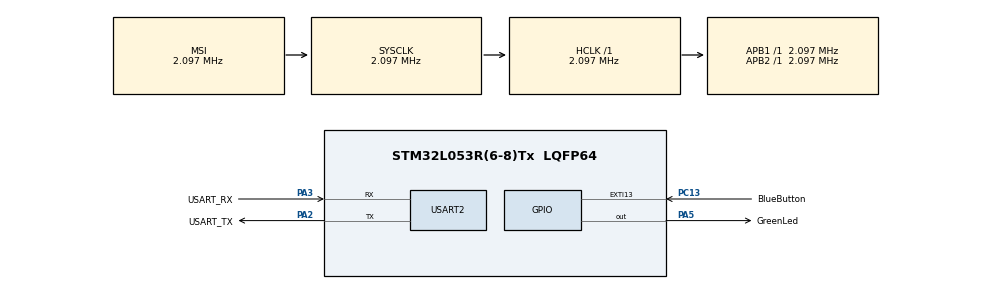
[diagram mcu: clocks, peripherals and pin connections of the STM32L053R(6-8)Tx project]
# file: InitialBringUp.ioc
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Mcu.Family=STM32L0
Mcu.Name=STM32L053R(6-8)Tx
Mcu.Package=LQFP64
NVIC.EXTI4_15_IRQn=true\:0\:0\:false\:false\:true\:true\:true
PA13.GPIO_Label=TMS
PA13.Mode=Serial_Wire
PA13.Signal=SYS_SWDIO
PA14.GPIO_Label=TCK
PA14.Mode=Serial_Wire
PA14.Signal=SYS_SWCLK
PA2.GPIO_Label=USART_TX
PA2.Mode=Asynchronous
PA2.Signal=USART2_TX
PA3.GPIO_Label=USART_RX
PA3.Mode=Asynchronous
PA3.Signal=USART2_RX
PA5.GPIO_Label=GreenLed
PA5.Signal=GPIO_Output
PC13.GPIO_Label=BlueButton
PC13.GPIO_ModeDefaultEXTI=GPIO_MODE_IT_RISING_FALLING
PC13.Signal=GPXTI13
PC14-OSC32_IN.Mode=LSE-External-Oscillator
PC14-OSC32_IN.Signal=RCC_OSC32_IN
PC15-OSC32_OUT.Mode=LSE-External-Oscillator
PC15-OSC32_OUT.Signal=RCC_OSC32_OUT
PH0-OSC_IN.Mode=HSE-External-Clock-Source
PH0-OSC_IN.Signal=RCC_OSC_IN
PH1-OSC_OUT.Signal=RCC_OSC_OUT
ProjectManager.HeapSize=0x200
ProjectManager.StackSize=0x400
ProjectManager.TargetToolchain=STM32CubeIDE
RCC.AHBFreq_Value=2097000
RCC.APB1Freq_Value=2097000
RCC.APB1TimFreq_Value=2097000
RCC.APB2Freq_Value=2097000
RCC.APB2TimFreq_Value=2097000
RCC.HSE_VALUE=8000000
RCC.HSI16_VALUE=16000000
RCC.HSI48_VALUE=48000000
RCC.HSI_VALUE=16000000
RCC.MSI_VALUE=2097000
RCC.SYSCLKFreq_VALUE=2097000
RCC.VCOOutputFreq_Value=48000000
USART2.VirtualMode-Asynchronous=VM_ASYNC
board=NUCLEO-L053R8

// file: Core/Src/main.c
/* USER CODE BEGIN Header */
/**
  ******************************************************************************
  * @file           : main.c
  * @brief          : Main program body
  ******************************************************************************
  * @attention
  *
  * <h2><center>&copy; Copyright (c) 2020 STMicroelectronics.
  * All rights reserved.</center></h2>
  *
  * This software component is licensed by ST under BSD 3-Clause license,
  * the "License"; You may not use this file except in compliance with the
  * License. You may obtain a copy of the License at:
  *                        opensource.org/licenses/BSD-3-Clause
  *
  ******************************************************************************
  */
/* USER CODE END Header */

#include "main.h"

/* USER CODE BEGIN Includes */
#include <stdio.h>
/* USER CODE END Includes */

UART_HandleTypeDef huart2;

void SystemClock_Config(void);
static void MX_GPIO_Init(void);
static void MX_USART2_UART_Init(void);

int main(void)
{

  /* MCU Configuration--------------------------------------------------------*/

  /* Reset of all peripherals, Initializes the Flash interface and the Systick. */
  HAL_Init();

  /* Configure the system clock */
  SystemClock_Config();

  /* Initialize all configured peripherals */
  MX_GPIO_Init();
  MX_USART2_UART_Init();

  /* Infinite loop */
  while (1)
  {

    /* USER CODE BEGIN 3 */
	printf("Hello World\r\n");
	HAL_GPIO_WritePin(GreenLed_GPIO_Port, GreenLed_Pin, GPIO_PIN_SET);
	HAL_Delay(500);
	HAL_GPIO_WritePin(GreenLed_GPIO_Port, GreenLed_Pin, GPIO_PIN_RESET);
	HAL_Delay(500);
  }
  /* USER CODE END 3 */
}

void SystemClock_Config(void)
{
  RCC_OscInitTypeDef RCC_OscInitStruct = {0};
  RCC_ClkInitTypeDef RCC_ClkInitStruct = {0};
  RCC_PeriphCLKInitTypeDef PeriphClkInit = {0};

  /** Configure the main internal regulator output voltage
  */
  __HAL_PWR_VOLTAGESCALING_CONFIG(PWR_REGULATOR_VOLTAGE_SCALE1);
  /** Initializes the CPU, AHB and APB busses clocks
  */
  RCC_OscInitStruct.OscillatorType = RCC_OSCILLATORTYPE_MSI;
  RCC_OscInitStruct.MSIState = RCC_MSI_ON;
  RCC_OscInitStruct.MSICalibrationValue = 0;
  RCC_OscInitStruct.MSIClockRange = RCC_MSIRANGE_5;
  RCC_OscInitStruct.PLL.PLLState = RCC_PLL_NONE;
  if (HAL_RCC_OscConfig(&RCC_OscInitStruct) != HAL_OK)
  {
    Error_Handler();
  }
  /** Initializes the CPU, AHB and APB busses clocks
  */
  RCC_ClkInitStruct.ClockType = RCC_CLOCKTYPE_HCLK|RCC_CLOCKTYPE_SYSCLK
                              |RCC_CLOCKTYPE_PCLK1|RCC_CLOCKTYPE_PCLK2;
  RCC_ClkInitStruct.SYSCLKSource = RCC_SYSCLKSOURCE_MSI;
  RCC_ClkInitStruct.AHBCLKDivider = RCC_SYSCLK_DIV1;
  RCC_ClkInitStruct.APB1CLKDivider = RCC_HCLK_DIV1;
  RCC_ClkInitStruct.APB2CLKDivider = RCC_HCLK_DIV1;

  if (HAL_RCC_ClockConfig(&RCC_ClkInitStruct, FLASH_LATENCY_0) != HAL_OK)
  {
    Error_Handler();
  }
  PeriphClkInit.PeriphClockSelection = RCC_PERIPHCLK_USART2;
  PeriphClkInit.Usart2ClockSelection = RCC_USART2CLKSOURCE_PCLK1;
  if (HAL_RCCEx_PeriphCLKConfig(&PeriphClkInit) != HAL_OK)
  {
    Error_Handler();
  }
}

static void MX_USART2_UART_Init(void)
{

  huart2.Instance = USART2;
  huart2.Init.BaudRate = 115200;
  huart2.Init.WordLength = UART_WORDLENGTH_8B;
  huart2.Init.StopBits = UART_STOPBITS_1;
  huart2.Init.Parity = UART_PARITY_NONE;
  huart2.Init.Mode = UART_MODE_TX_RX;
  huart2.Init.HwFlowCtl = UART_HWCONTROL_NONE;
  huart2.Init.OverSampling = UART_OVERSAMPLING_16;
  huart2.Init.OneBitSampling = UART_ONE_BIT_SAMPLE_DISABLE;
  huart2.AdvancedInit.AdvFeatureInit = UART_ADVFEATURE_NO_INIT;
  if (HAL_UART_Init(&huart2) != HAL_OK)
  {
    Error_Handler();
  }

}

static void MX_GPIO_Init(void)
{
  GPIO_InitTypeDef GPIO_InitStruct = {0};

  /* GPIO Ports Clock Enable */
  __HAL_RCC_GPIOC_CLK_ENABLE();
  __HAL_RCC_GPIOH_CLK_ENABLE();
  __HAL_RCC_GPIOA_CLK_ENABLE();

  /*Configure GPIO pin Output Level */
  HAL_GPIO_WritePin(GreenLed_GPIO_Port, GreenLed_Pin, GPIO_PIN_RESET);

  /*Configure GPIO pin : BlueButton_Pin */
  GPIO_InitStruct.Pin = BlueButton_Pin;
  GPIO_InitStruct.Mode = GPIO_MODE_IT_RISING_FALLING;
  GPIO_InitStruct.Pull = GPIO_NOPULL;
  HAL_GPIO_Init(BlueButton_GPIO_Port, &GPIO_InitStruct);

  /*Configure GPIO pin : GreenLed_Pin */
  GPIO_InitStruct.Pin = GreenLed_Pin;
  GPIO_InitStruct.Mode = GPIO_MODE_OUTPUT_PP;
  GPIO_InitStruct.Pull = GPIO_NOPULL;
  GPIO_InitStruct.Speed = GPIO_SPEED_FREQ_LOW;
  HAL_GPIO_Init(GreenLed_GPIO_Port, &GPIO_InitStruct);

  /* EXTI interrupt init*/
  HAL_NVIC_SetPriority(EXTI4_15_IRQn, 0, 0);
  HAL_NVIC_EnableIRQ(EXTI4_15_IRQn);

}

/* USER CODE BEGIN 4 */
int __io_putchar(int ch)
{
 uint8_t c[1];
 c[0] = ch & 0x00FF;
 HAL_UART_Transmit(&huart2, &*c, 1, 10);
 return ch;
}

int _write(int file,char *ptr, int len)
{
 int DataIdx;
 for(DataIdx= 0; DataIdx< len; DataIdx++)
 {
 __io_putchar(*ptr++);
 }
return len;
}

void HAL_GPIO_EXTI_Callback(uint16_t GPIO_Pin)
{
	switch(GPIO_Pin)
	{
	case BlueButton_Pin:
		printf("Button Pressed\r\n");
		break;
	default:
		printf("Unhandled interrupt--ERROR\r\n");
		break;
	}
}
/* USER CODE END 4 */

void Error_Handler(void)
{
}

/************************ (C) COPYRIGHT STMicroelectronics *****END OF FILE****/
